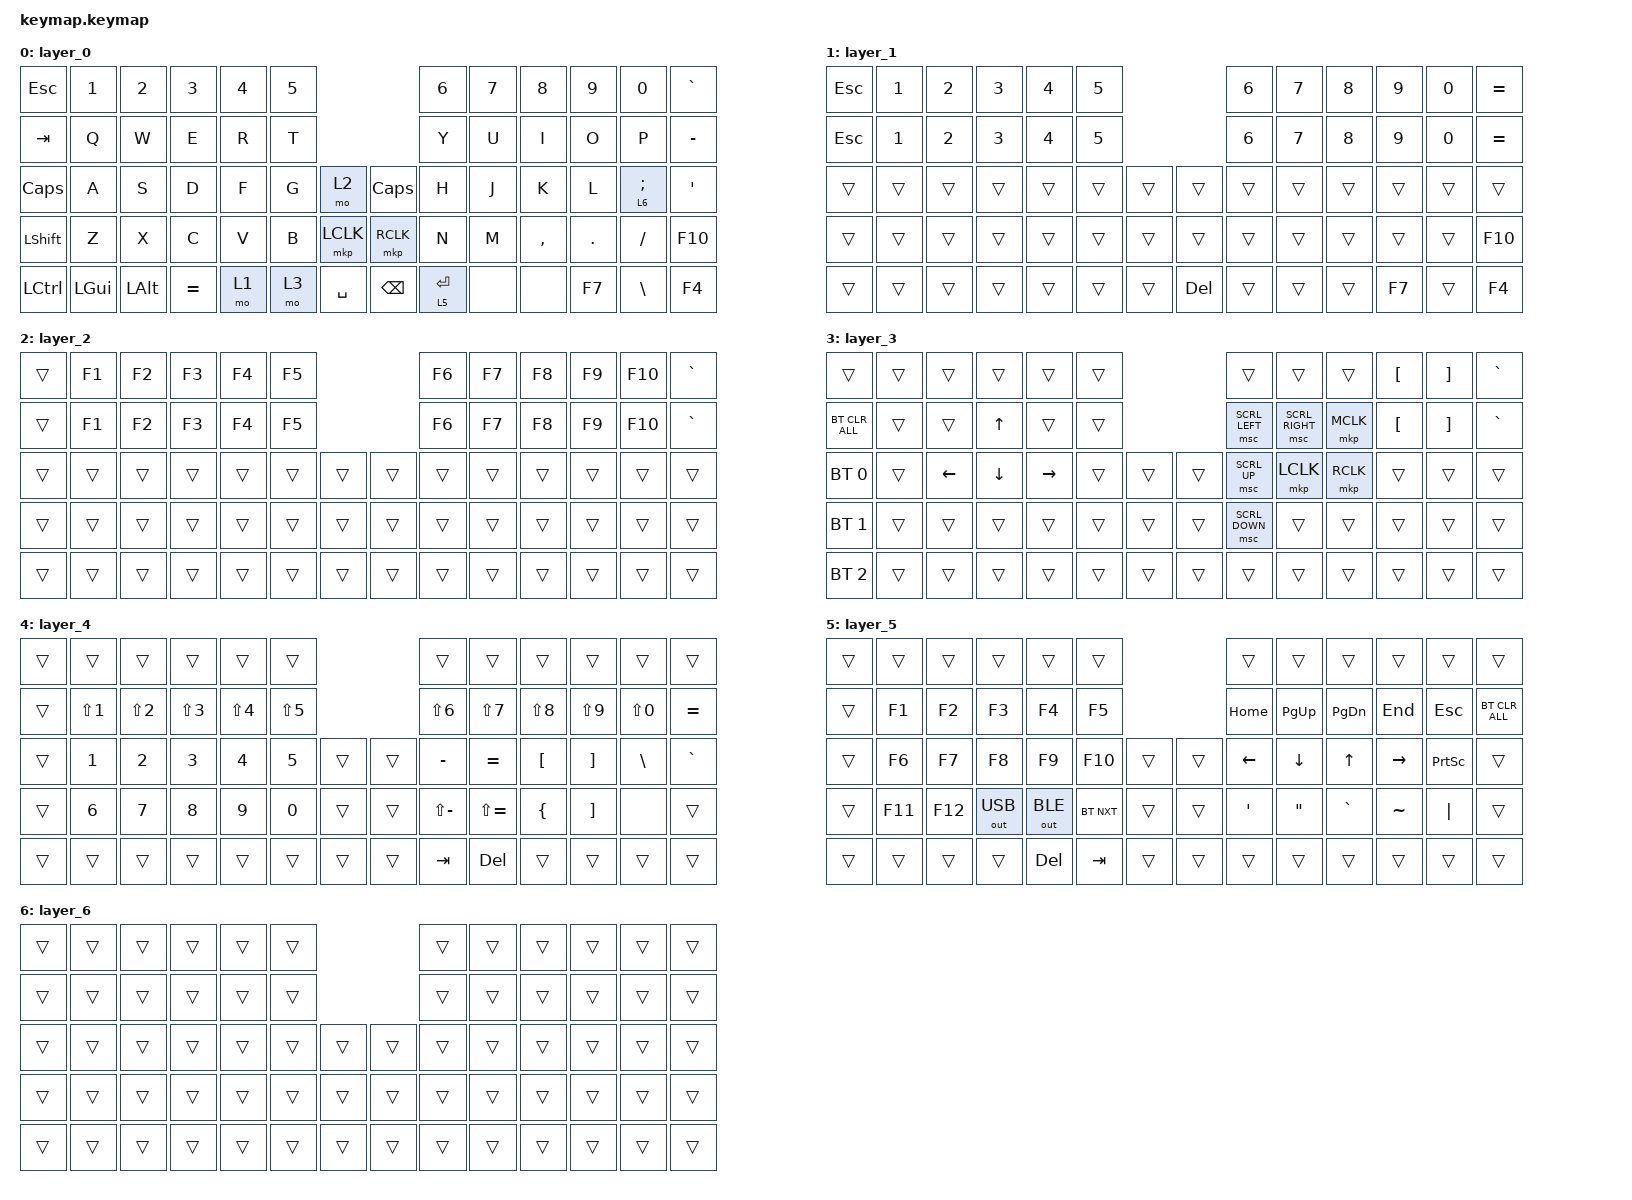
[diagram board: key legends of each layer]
#include <behaviors.dtsi>
#include <dt-bindings/zmk/bt.h>
#include <dt-bindings/zmk/keys.h>
#include <dt-bindings/zmk/outputs.h>
#include <dt-bindings/zmk/pointing.h>

/ {
    combos {
        compatible = "zmk,combos";

        bt_clear {
            bindings = <&bt BT_CLR>;
            key-positions = <28 29>;
            layers = <4>;
        };
    };

    keymap {
        compatible = "zmk,keymap";

        layer_0 {
            bindings = <
&kp ESC    &kp N1        &kp N2    &kp N3     &kp N4  &kp N5                            &kp N6       &kp N7  &kp N8     &kp N9   &kp N0         &kp GRAVE
&kp TAB    &kp Q         &kp W     &kp E      &kp R   &kp T                             &kp Y        &kp U   &kp I      &kp O    &kp P          &kp MINUS
&kp CAPS   &kp A         &kp S     &kp D      &kp F   &kp G   &mo 2      &kp CLCK       &kp H        &kp J   &kp K      &kp L    &lt 6 SEMI     &kp SQT
&kp LSHFT  &kp Z         &kp X     &kp C      &kp V   &kp B   &mkp LCLK  &mkp RCLK      &kp N        &kp M   &kp COMMA  &kp DOT  &kp FSLH       &kp F10
&kp LCTRL  &kp LEFT_GUI  &kp LALT  &kp EQUAL  &mo 1   &mo 3   &kp SPACE  &kp BACKSPACE  &lt 5 ENTER  &none   &none      &kp F7   &kp BACKSLASH  &kp F4
            >;
        };

        layer_1 {
            bindings = <
&kp ESC  &kp N1  &kp N2  &kp N3  &kp N4  &kp N5                   &kp N6  &kp N7  &kp N8  &kp N9  &kp N0  &kp EQUAL
&kp ESC  &kp N1  &kp N2  &kp N3  &kp N4  &kp N5                   &kp N6  &kp N7  &kp N8  &kp N9  &kp N0  &kp EQUAL
&trans   &trans  &trans  &trans  &trans  &trans  &trans  &trans   &trans  &trans  &trans  &trans  &trans  &trans
&trans   &trans  &trans  &trans  &trans  &trans  &trans  &trans   &trans  &trans  &trans  &trans  &trans  &kp F10
&trans   &trans  &trans  &trans  &trans  &trans  &trans  &kp DEL  &trans  &trans  &trans  &kp F7  &trans  &kp F4
            >;
        };

        layer_2 {
            bindings = <
&trans  &kp F1  &kp F2  &kp F3  &kp F4  &kp F5                  &kp F6  &kp F7  &kp F8  &kp F9  &kp F10  &kp GRAVE
&trans  &kp F1  &kp F2  &kp F3  &kp F4  &kp F5                  &kp F6  &kp F7  &kp F8  &kp F9  &kp F10  &kp GRAVE
&trans  &trans  &trans  &trans  &trans  &trans  &trans  &trans  &trans  &trans  &trans  &trans  &trans   &trans
&trans  &trans  &trans  &trans  &trans  &trans  &trans  &trans  &trans  &trans  &trans  &trans  &trans   &trans
&trans  &trans  &trans  &trans  &trans  &trans  &trans  &trans  &trans  &trans  &trans  &trans  &trans   &trans
            >;
        };

        layer_3 {
            bindings = <
&trans          &trans  &trans          &trans          &trans           &trans                  &trans          &trans           &trans     &kp LEFT_BRACKET  &kp RIGHT_BRACKET  &kp GRAVE
&bt BT_CLR_ALL  &trans  &trans          &kp UP_ARROW    &trans           &trans                  &msc SCRL_LEFT  &msc SCRL_RIGHT  &mkp MCLK  &kp LEFT_BRACKET  &kp RIGHT_BRACKET  &kp GRAVE
&bt BT_SEL 0    &trans  &kp LEFT_ARROW  &kp DOWN_ARROW  &kp RIGHT_ARROW  &trans  &trans  &trans  &msc SCRL_UP    &mkp LCLK        &mkp RCLK  &trans            &trans             &trans
&bt BT_SEL 1    &trans  &trans          &trans          &trans           &trans  &trans  &trans  &msc SCRL_DOWN  &trans           &trans     &trans            &trans             &trans
&bt BT_SEL 2    &trans  &trans          &trans          &trans           &trans  &trans  &trans  &trans          &trans           &trans     &trans            &trans             &trans
            >;
        };

        layer_4 {
            bindings = <
&trans  &trans            &trans            &trans      &trans      &trans                      &trans         &trans         &trans            &trans             &trans         &trans
&trans  &kp LS(NUMBER_1)  &kp LS(NUMBER_2)  &kp LS(N3)  &kp LS(N4)  &kp LS(N5)                  &kp LS(N6)     &kp LS(N7)     &kp LS(N8)        &kp LS(N9)         &kp LS(N0)     &kp EQUAL
&trans  &kp N1            &kp N2            &kp N3      &kp N4      &kp N5      &trans  &trans  &kp MINUS      &kp EQUAL      &kp LEFT_BRACKET  &kp RIGHT_BRACKET  &kp BACKSLASH  &kp GRAVE
&trans  &kp N6            &kp N7            &kp N8      &kp N9      &kp N0      &trans  &trans  &kp LS(MINUS)  &kp LS(EQUAL)  &kp LEFT_BRACE    &kp RIGHT_BRACKET  &none          &trans
&trans  &trans            &trans            &trans      &trans      &trans      &trans  &trans  &kp TAB        &kp DEL        &trans            &trans             &trans         &trans
            >;
        };

        layer_5 {
            bindings = <
&trans  &trans   &trans   &trans        &trans        &trans                      &trans            &trans     &trans         &trans     &trans      &trans
&trans  &kp F1   &kp F2   &kp F3        &kp F4        &kp F5                      &kp HOME          &kp PG_UP  &kp PAGE_DOWN  &kp END    &kp ESCAPE  &bt BT_CLR_ALL
&trans  &kp F6   &kp F7   &kp F8        &kp F9        &kp F10     &trans  &trans  &kp LEFT          &kp DOWN   &kp UP_ARROW   &kp RIGHT  &kp PSCRN   &trans
&trans  &kp F11  &kp F12  &out OUT_USB  &out OUT_BLE  &bt BT_NXT  &trans  &trans  &kp SINGLE_QUOTE  &kp DQT    &kp GRAVE      &kp TILDE  &kp PIPE    &trans
&trans  &trans   &trans   &trans        &kp DELETE    &kp TAB     &trans  &trans  &trans            &trans     &trans         &trans     &trans      &trans
            >;
        };

        layer_6 {
            bindings = <
&trans  &trans  &trans  &trans  &trans  &trans                  &trans  &trans  &trans  &trans  &trans  &trans
&trans  &trans  &trans  &trans  &trans  &trans                  &trans  &trans  &trans  &trans  &trans  &trans
&trans  &trans  &trans  &trans  &trans  &trans  &trans  &trans  &trans  &trans  &trans  &trans  &trans  &trans
&trans  &trans  &trans  &trans  &trans  &trans  &trans  &trans  &trans  &trans  &trans  &trans  &trans  &trans
&trans  &trans  &trans  &trans  &trans  &trans  &trans  &trans  &trans  &trans  &trans  &trans  &trans  &trans
            >;
        };
    };
};
